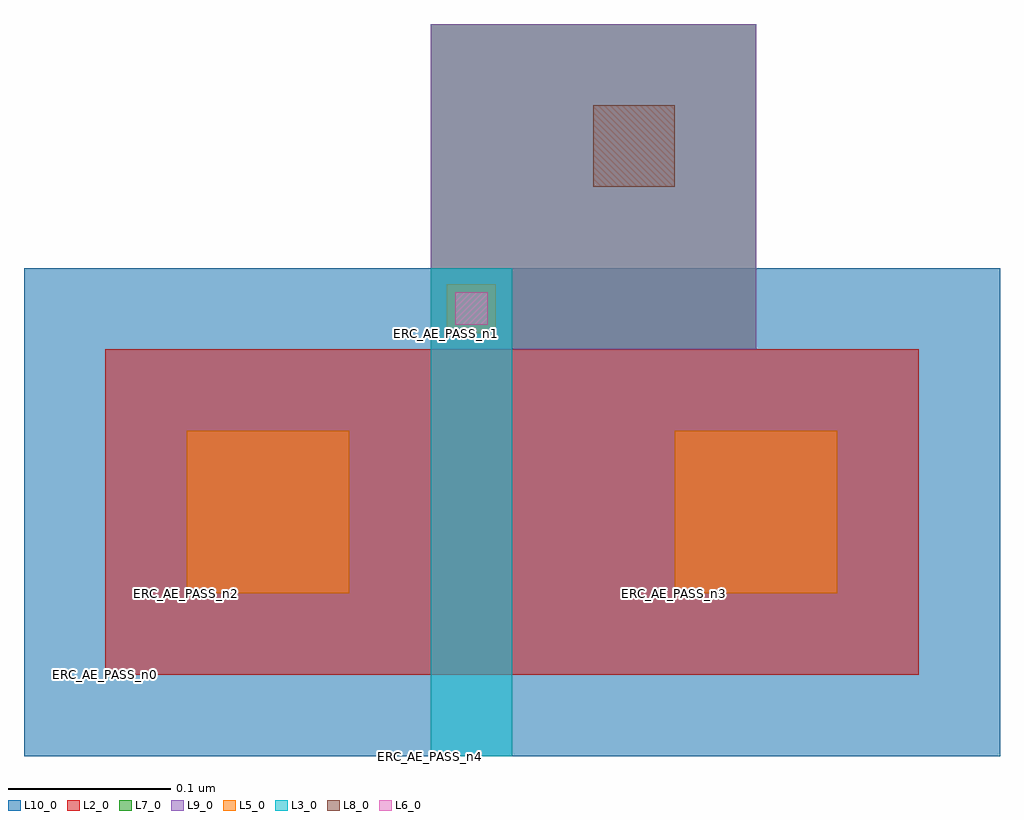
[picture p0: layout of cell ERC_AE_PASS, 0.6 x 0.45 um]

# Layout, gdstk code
import gdstk
lib = gdstk.Library(unit=1e-6, precision=1e-09)
def R(c, l, rs):  # rectangles x0, y0, x1, y1
    for r in rs: c.add(gdstk.rectangle(r[:2], r[2:], *l))
L2_0 = (2, 0)
L3_0 = (3, 0)
L5_0 = (5, 0)
L6_0 = (6, 0)
L7_0 = (7, 0)
L8_0 = (8, 0)
L9_0 = (9, 0)
L10_0 = (10, 0)

erc_ae_pass = lib.new_cell('ERC_AE_PASS')
R(erc_ae_pass, L2_0, [(0,0,0.5,0.2)])
R(erc_ae_pass, L3_0, [(0.2,-0.05,0.25,0.25)])
R(erc_ae_pass, L5_0, [(0.05,0.05,0.15,0.15), (0.35,0.05,0.45,0.15), (0.21,0.21,0.24,0.24)])
R(erc_ae_pass, L6_0, [(0.215,0.215,0.235,0.235)])
R(erc_ae_pass, L7_0, [(0.2,0.2,0.4,0.4)])
R(erc_ae_pass, L8_0, [(0.3,0.3,0.35,0.35)])
R(erc_ae_pass, L9_0, [(0.2,0.2,0.4,0.4)])
R(erc_ae_pass, L10_0, [(-0.05,-0.05,0.55,0.25)])
erc_ae_pass.add(gdstk.Label('ERC_AE_PASS_n0', (0,0), layer=2, texttype=5))
erc_ae_pass.add(gdstk.Label('ERC_AE_PASS_n1', (0.21,0.21), layer=5, texttype=5))
erc_ae_pass.add(gdstk.Label('ERC_AE_PASS_n2', (0.05,0.05), layer=5, texttype=5))
erc_ae_pass.add(gdstk.Label('ERC_AE_PASS_n3', (0.35,0.05), layer=5, texttype=5))
erc_ae_pass.add(gdstk.Label('ERC_AE_PASS_n4', (0.2,-0.05), layer=3, texttype=5))

lib.write_gds('ERC_AE_PASS.gds')
